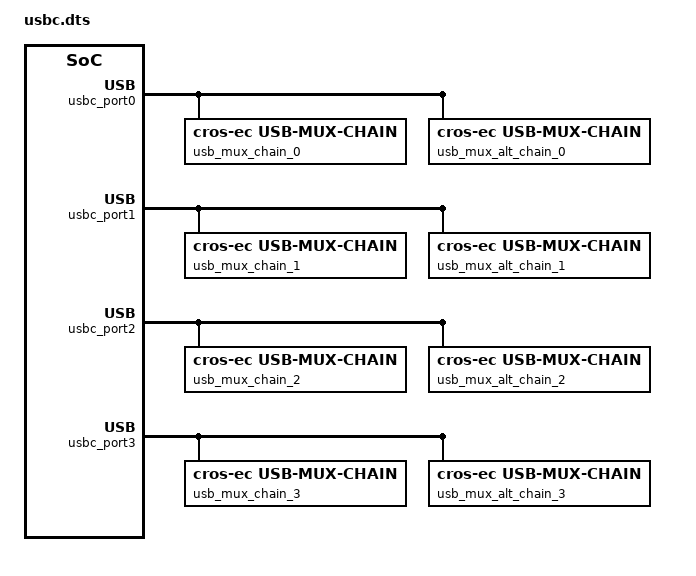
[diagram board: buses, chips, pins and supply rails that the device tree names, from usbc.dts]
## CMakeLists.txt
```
# Copyright 2022 The ChromiumOS Authors. All rights reserved.
# Use of this source code is governed by a BSD-style license that can be
# found in the LICENSE file.

zephyr_library_sources("src/mtlrvp.c")
zephyr_library_sources("src/board_power.c")
```

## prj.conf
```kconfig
# Copyright 2022 The ChromiumOS Authors
# Use of this source code is governed by a BSD-style license that can be
# found in the LICENSE file.

# Power Sequencing
CONFIG_AP_X86_INTEL_MTL=y
CONFIG_X86_NON_DSX_PWRSEQ_MTL=y
CONFIG_PLATFORM_EC_POWERSEQ_SLP_S3_L_OVERRIDE=n
CONFIG_PLATFORM_EC_POWERSEQ_PP5000_CONTROL=n

# Battery
CONFIG_PLATFORM_EC_BATTERY_TYPE_NO_AUTO_DETECT=y
CONFIG_PLATFORM_EC_BATTERY_V2=y

# CBI
CONFIG_EEPROM=y
CONFIG_EEPROM_AT24=y
CONFIG_EEPROM_SHELL=n
CONFIG_PLATFORM_EC_CBI_EEPROM=y
CONFIG_PLATFORM_EC_BYPASS_CBI_EEPROM_WP_CHECK=y
CONFIG_PLATFORM_EC_SYSTEM_UNLOCKED=y

# Disable BC1.2
CONFIG_PLATFORM_EC_USB_CHARGER=n

# Charger
CONFIG_PLATFORM_EC_CHARGER=y
CONFIG_PLATFORM_EC_CHARGER_DISCHARGE_ON_AC=y
CONFIG_PLATFORM_EC_CHARGER_SENSE_RESISTOR=5
CONFIG_PLATFORM_EC_CHARGER_SENSE_RESISTOR_AC=10
CONFIG_PLATFORM_EC_CHARGE_RAMP_HW=n
CONFIG_PLATFORM_EC_CHARGER_ISL9241=y
CONFIG_PLATFORM_EC_DEDICATED_CHARGE_PORT=y

# IOEX
CONFIG_PLATFORM_EC_IOEX_CROS_DRV=y
CONFIG_PLATFORM_EC_IOEX_CCGXXF=y
CONFIG_GPIO_PCA95XX=y
CONFIG_GPIO_NCT38XX=y
CONFIG_PLATFORM_EC_IOEX_IT8801=y

#Keyboard from I/O expander
CONFIG_PLATFORM_EC_KEYBOARD_DISCRETE=y
CONFIG_CROS_KB_RAW_NPCX=n

# Temperature sensors
CONFIG_PLATFORM_EC_TEMP_SENSOR=y
CONFIG_PLATFORM_EC_THERMISTOR=y
CONFIG_PLATFORM_EC_TEMP_SENSOR_POWER=y

# USB CONFIG
CONFIG_PLATFORM_EC_USB_DRP_ACC_TRYSRC=y
CONFIG_PLATFORM_EC_USB_MUX_TASK=y
CONFIG_PLATFORM_EC_USBC_PPC_SN5S330=y
CONFIG_PLATFORM_EC_USBC_PPC=y
CONFIG_PLATFORM_EC_USB_PD_PPC=y
CONFIG_PLATFORM_EC_USB_PD_VBUS_DETECT_PPC=y
CONFIG_PLATFORM_EC_USB_PD_VBUS_DETECT_TCPC=y
CONFIG_PLATFORM_EC_USB_PD_DISCHARGE_PPC=y
CONFIG_PLATFORM_EC_USB_PD_DISCHARGE_TCPC=y
CONFIG_PLATFORM_EC_USB_PD_TCPC_LOW_POWER=y
CONFIG_PLATFORM_EC_USB_PD_TCPM_TCPCI=y
CONFIG_PLATFORM_EC_USB_PD_TCPM_MUX=y
CONFIG_PLATFORM_EC_USB_PD_TRY_SRC=y
CONFIG_PLATFORM_EC_USB_PD_TCPM_SBU=y
CONFIG_PLATFORM_EC_USB_PD_DUAL_ROLE_AUTO_TOGGLE=y
CONFIG_PLATFORM_EC_USBC_VCONN=y
CONFIG_PLATFORM_EC_USB_PD_TBT_COMPAT_MODE=y
CONFIG_PLATFORM_EC_USB_PD_USB32_DRD=y
CONFIG_PLATFORM_EC_USB_PD_USB4=y
CONFIG_PLATFORM_EC_USB_PD_INT_SHARED=y
CONFIG_PLATFORM_EC_USB_PD_PORT_0_SHARED=y
CONFIG_PLATFORM_EC_USB_PD_PORT_1_SHARED=y

# 7-Segment Display
CONFIG_PLATFORM_EC_MAX695X_SEVEN_SEGMENT_DISPLAY=y
```

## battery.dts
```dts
/* Copyright 2022 The Chromium OS Authors. All rights reserved.
 * Use of this source code is governed by a BSD-style license that can be
 * found in the LICENSE file.
 */

/ {
	aliases {
		getac-3s = &default_battery;
		getac-2s = &getac_smp_hhp_408_2s;
	};
	batteries {
		default_battery: getac-smp-hhp-408-3s {
			compatible = "getac,bq40z50-R3-S3", "battery-smart";
		};
		getac_smp_hhp_408_2s: getac-smp-hhp-408-2s {
			compatible = "getac,bq40z50-R3-S2", "battery-smart";
		};
	};
};
```

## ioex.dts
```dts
/* Copyright 2022 The ChromiumOS Authors. All rights reserved.
 * Use of this source code is governed by a BSD-style license that can be
 * found in the LICENSE file.
 */

/ {
	/* IOEX_KBD_GPIO IT8801 */
	ioex-kbd-gpio {
		compatible = "cros,ioex-chip";
		i2c-port = <&battery>;
		i2c-addr = <0x39>;
		drv = "it8801_ioexpander_drv";
		flags = <0x00>;
		#address-cells = <1>;
		#size-cells = <0>;

		ioex_it8801_port0: it8801_port@0 {
			compatible = "cros,ioex-port";
			reg = <0>;
			gpio-controller;
			#gpio-cells = <2>;
			ngpios = <8>;
		};

		ioex_it8801_port1: it8801_port@1 {
			compatible = "cros,ioex-port";
			reg = <1>;
			gpio-controller;
			#gpio-cells = <2>;
			ngpios = <8>;
		};
	};
	/* IOEX_C2_CCGXXF */
	ioex-c2 {
		compatible = "cros,ioex-chip";
		i2c-port = <&typec_aic2>;
		i2c-addr = <0x0B>;
		drv = "ccgxxf_ioexpander_drv";
		flags = <0x00>;
		#address-cells = <1>;
		#size-cells = <0>;
		ioex_c2_port0: ioex-c2-port@0 {
			compatible = "cros,ioex-port";
			reg = <0>;
			gpio-controller;
			#gpio-cells = <2>;
			ngpios = <8>;
		};
		ioex_c2_port1: ioex-c2-port@1 {
			compatible = "cros,ioex-port";
			reg = <1>;
			gpio-controller;
			#gpio-cells = <2>;
			ngpios = <8>;
		};
		ioex_c2_port2: ioex-c2-port@2 {
			compatible = "cros,ioex-port";
			reg = <2>;
			gpio-controller;
			#gpio-cells = <2>;
			ngpios = <8>;
		};
		ioex_c2_port3: ioex-c2-port@3 {
			compatible = "cros,ioex-port";
			reg = <3>;
			gpio-controller;
			#gpio-cells = <2>;
			ngpios = <8>;
		};
	};
};
```

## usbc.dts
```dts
/* Copyright 2022 The ChromiumOS Authors
 * Use of this source code is governed by a BSD-style license that can be
 * found in the LICENSE file.
 */

/ {
	usbc {
		#address-cells = <1>;
		#size-cells = <0>;

		usbc_port0: port0@0 {
			compatible = "named-usbc-port";
			reg = <0>;
			tcpc = <&tcpc_port0>;
			chg = <&charger>;
			usb_mux_chain_0: usb-mux-chain-0 {
				compatible = "cros-ec,usb-mux-chain";
				usb-muxes = <&usb_c0_hb_retimer
					     &virtual_mux_c0>;
			};
			usb_mux_alt_chain_0: usb-mux-atl-chain-0 {
				compatible = "cros-ec,usb-mux-chain";
				alternative-chain;
				usb-muxes = <&virtual_mux_c0>;
			};
		};
		port0-muxes {
			virtual_mux_c0: virtual-mux-c0 {
				compatible = "cros-ec,usbc-mux-virtual";
			};
		};

		usbc_port1: port1@1 {
			compatible = "named-usbc-port";
			reg = <1>;
			tcpc = <&tcpc_port1>;
			usb_mux_chain_1: usb-mux-chain-1 {
				compatible = "cros-ec,usb-mux-chain";
				usb-muxes = <&usb_c1_hb_retimer
					     &virtual_mux_c1>;
			};
			usb_mux_alt_chain_1: usb-mux-alt-chain-1 {
				compatible = "cros-ec,usb-mux-chain";
				alternative-chain;
				usb-muxes = <&virtual_mux_c1>;
			};
		};
		port1-muxes {
			virtual_mux_c1: virtual-mux-c1 {
				compatible = "cros-ec,usbc-mux-virtual";
			};
		};

		usbc_port2: port2@2 {
			compatible = "named-usbc-port";
			reg = <2>;
			tcpc = <&tcpc_port2>;
			usb_mux_chain_2: usb-mux-chain-2 {
				compatible = "cros-ec,usb-mux-chain";
				usb-muxes = <&usb_c2_hb_retimer
					     &virtual_mux_c2>;
			};
			usb_mux_alt_chain_2: usb-mux-alt-chain-2 {
				compatible = "cros-ec,usb-mux-chain";
				alternative-chain;
				usb-muxes = <&usb_c2_alt_hb_retimer
					     &virtual_mux_c2>;
			};
		};
		port2-muxes {
			virtual_mux_c2: virtual-mux-c2 {
				compatible = "cros-ec,usbc-mux-virtual";
			};
		};

		usbc_port3: port3@3 {
			compatible = "named-usbc-port";
			reg = <3>;
			tcpc = <&tcpc_port3>;
			usb_mux_chain_3: usb-mux-chain-3 {
				compatible = "cros-ec,usb-mux-chain";
				usb-muxes = <&usb_c3_hb_retimer
					     &virtual_mux_c3>;
			};
			usb_mux_alt_chain_3: usb-mux-alt-chain-3 {
				compatible = "cros-ec,usb-mux-chain";
				alternative-chain;
				usb-muxes = <&usb_c3_alt_hb_retimer
					     &virtual_mux_c3>;
			};
		};
		port3-muxes {
			virtual_mux_c3: virtual-mux-c3 {
				compatible = "cros-ec,usbc-mux-virtual";
			};
		};
	};
};
```

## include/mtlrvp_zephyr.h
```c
/* Copyright 2022 The Chromium OS Authors. All rights reserved.
 * Use of this source code is governed by a BSD-style license that can be
 * found in the LICENSE file.
 */

/* Intel MTL-RVP specific configuration */

#ifndef __MTLRVP_BOARD_H
#define __MTLRVP_BOARD_H

#define GPIO_SYS_PWROK_EC	GPIO_PCH_SYS_PWROK
#define GPIO_ENTERING_RW	GPIO_UNIMPLEMENTED

#endif /* __MTLRVP_BOARD_H */
```

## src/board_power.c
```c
/* Copyright 2022 The ChromiumOS Authors
 * Use of this source code is governed by a BSD-style license that can be
 * found in the LICENSE file.
 */

#include "gpio/gpio.h"
#include "gpio_signal.h"
#include "system_boot_time.h"

#include <zephyr/drivers/gpio.h>
#include <zephyr/logging/log.h>
#include <zephyr/sys/atomic.h>
#include <zephyr/logging/log.h>
#include <zephyr/drivers/gpio.h>

#include <ap_power/ap_power.h>
#include <ap_power/ap_power_events.h>
#include <ap_power/ap_power_interface.h>
#include <ap_power_override_functions.h>
#include <power_signals.h>
#include <x86_power_signals.h>

#include "gpio_signal.h"
#include "gpio/gpio.h"

LOG_MODULE_DECLARE(ap_pwrseq, LOG_LEVEL_INF);

#if CONFIG_X86_NON_DSX_PWRSEQ_MTL
#define X86_NON_DSX_MTL_FORCE_SHUTDOWN_TO_MS 50

void board_ap_power_force_shutdown(void)
{
	int timeout_ms = X86_NON_DSX_MTL_FORCE_SHUTDOWN_TO_MS;

	/* Turn off PCH_RMSRST to meet tPCH12 */
	power_signal_set(PWR_EC_PCH_RSMRST, 0);

	/* Turn off PRIM load switch. */
	power_signal_set(PWR_EN_PP3300_A, 0);

	/* Wait RSMRST to be off. */
	while (power_signal_get(PWR_RSMRST) && (timeout_ms > 0)) {
		k_msleep(1);
		timeout_ms--;
	};

	if (power_signal_get(PWR_RSMRST))
		LOG_WRN("RSMRST_ODL didn't go low!  Assuming G3.");
}

void board_ap_power_action_g3_s5(void)
{
	/* Turn on the PP3300_PRIM rail. */
	power_signal_set(PWR_EN_PP3300_A, 1);

	update_ap_boot_time(ARAIL);
	if (!power_wait_signals_timeout(
		    IN_PGOOD_ALL_CORE,
		    AP_PWRSEQ_DT_VALUE(wait_signal_timeout))) {
		ap_power_ev_send_callbacks(AP_POWER_PRE_INIT);
	}
}

bool board_ap_power_check_power_rails_enabled(void)
{
	return power_signal_get(PWR_EN_PP3300_A);
}
#endif /* CONFIG_X86_NON_DSX_PWRSEQ_MTL */
```

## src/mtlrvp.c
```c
/* Copyright 2022 The ChromiumOS Authors
 * Use of this source code is governed by a BSD-style license that can be
 * found in the LICENSE file.
 */

#include "battery.h"
#include "battery_fuel_gauge.h"
#include "charger.h"
#include "common.h"
#include "console.h"
#include "driver/retimer/bb_retimer_public.h"
#include "driver/tcpm/ccgxxf.h"
#include "driver/tcpm/nct38xx.h"
#include "driver/tcpm/tcpci.h"
#include "extpower.h"
#include "gpio.h"
#include "gpio/gpio_int.h"
#include "hooks.h"
#include "i2c.h"
#include "intelrvp.h"
#include "intel_rvp_board_id.h"
#include "ioexpander.h"
#include "isl9241.h"
#include "keyboard_raw.h"
#include "power/meteorlake.h"
#include "sn5s330.h"
#include "system.h"
#include "task.h"
#include "tusb1064.h"
#include "usb_mux.h"
#include "usbc_ppc.h"
#include "usbc/usb_muxes.h"
#include "util.h"

#define CPRINTF(format, args...) cprintf(CC_COMMAND, format, ##args)
#define CPRINTS(format, args...) cprints(CC_COMMAND, format, ##args)

/*******************************************************************/
/* USB-C Configuration Start */

/* PPC */
#define I2C_ADDR_SN5S330_P0 0x40
#define I2C_ADDR_SN5S330_P1 0x41

#define MTLP_DDR5_RVP_SKU_BOARD_ID 0x01
#define MTLP_LP5_RVP_SKU_BOARD_ID 0x02
#define MTL_RVP_BOARD_ID(id) ((id) & 0x3F)

/* IOEX ports */
enum ioex_port {
	IOEX_KBD = 0,
#if defined(HAS_TASK_PD_C2)
	IOEX_C2_CCGXXF,
#endif
	IOEX_COUNT
};

/* USB-C ports */
enum usbc_port {
	USBC_PORT_C0 = 0,
	USBC_PORT_C1,
#if defined(HAS_TASK_PD_C2)
	USBC_PORT_C2,
	USBC_PORT_C3,
#endif
	USBC_PORT_COUNT
};
BUILD_ASSERT(USBC_PORT_COUNT == CONFIG_USB_PD_PORT_MAX_COUNT);


/* USB-C PPC configuration */
struct ppc_config_t ppc_chips[] = {
	[USBC_PORT_C0] = {
		.i2c_port = I2C_PORT_TYPEC_AIC_1,
		.i2c_addr_flags = I2C_ADDR_SN5S330_P0,
		.drv = &sn5s330_drv,
	},
	[USBC_PORT_C1] = {
		.i2c_port = I2C_PORT_TYPEC_AIC_1,
		.i2c_addr_flags = I2C_ADDR_SN5S330_P1,
		.drv = &sn5s330_drv,
	},
};
unsigned int ppc_cnt = ARRAY_SIZE(ppc_chips);

/* TCPC AIC GPIO Configuration */
const struct tcpc_aic_gpio_config_t tcpc_aic_gpios[] = {
	[USBC_PORT_C0] = {
		.tcpc_alert = GPIO_SIGNAL(DT_NODELABEL(usbc_tcpc_alrt_p0)),
		.ppc_alert = GPIO_SIGNAL(DT_NODELABEL(usbc_tcpc_ppc_alrt_p0)),
		.ppc_intr_handler = sn5s330_interrupt,
	},
	[USBC_PORT_C1] = {
		.tcpc_alert = GPIO_SIGNAL(DT_NODELABEL(usbc_tcpc_alrt_p0)),
		.ppc_alert = GPIO_SIGNAL(DT_NODELABEL(usbc_tcpc_ppc_alrt_p1)),
		.ppc_intr_handler = sn5s330_interrupt,
	},
#if defined(HAS_TASK_PD_C2)
	[USBC_PORT_C2] = {
		.tcpc_alert = GPIO_SIGNAL(DT_NODELABEL(usbc_tcpc_alrt_p2)),
		/* No PPC alert for CCGXXF */
	},
	[USBC_PORT_C3] = {
		.tcpc_alert = GPIO_SIGNAL(DT_NODELABEL(usbc_tcpc_alrt_p3)),
		/* No PPC alert for CCGXXF */
	},
#endif
};
BUILD_ASSERT(ARRAY_SIZE(tcpc_aic_gpios) == CONFIG_USB_PD_PORT_MAX_COUNT);

static void board_connect_c0_sbu_deferred(void)
{
	enum pd_power_role prole;

	if (gpio_get_level(GPIO_CCD_MODE_ODL)) {
		CPRINTS("Default AUX line connected");
		/* Default set the SBU lines to AUX mode */
		ioex_set_level(IOEX_USB_C0_MUX_SBU_SEL_1, 0);
		ioex_set_level(IOEX_USB_C0_MUX_SBU_SEL_0, 1);
	} else {
		prole = pd_get_power_role(USBC_PORT_C0);
		CPRINTS("%s debug device is attached",
			prole == PD_ROLE_SINK ? "Servo V4C/SuzyQ" : "Intel");

		if (prole == PD_ROLE_SINK) {
			/* Set the SBU lines to Google CCD mode */
			ioex_set_level(IOEX_USB_C0_MUX_SBU_SEL_1, 1);
			ioex_set_level(IOEX_USB_C0_MUX_SBU_SEL_0, 1);
		} else {
			/* Set the SBU lines to Intel CCD mode */
			ioex_set_level(IOEX_USB_C0_MUX_SBU_SEL_1, 0);
			ioex_set_level(IOEX_USB_C0_MUX_SBU_SEL_0, 0);
		}
	}
}
DECLARE_DEFERRED(board_connect_c0_sbu_deferred);

void board_overcurrent_event(int port, int is_overcurrented)
{
	/*
	 * TODO: Meteorlake PCH does not use Physical GPIO for over current
	 * error, hence Send 'Over Current Virtual Wire' eSPI signal.
	 */
}

void board_reset_pd_mcu(void)
{
	/* Reset NCT38XX TCPC */
	gpio_pin_set_dt(GPIO_DT_FROM_NODELABEL(usb_c0_c1_tcpc_rst_odl), 0);
	msleep(NCT38XX_RESET_HOLD_DELAY_MS);
	gpio_pin_set_dt(GPIO_DT_FROM_NODELABEL(usb_c0_c1_tcpc_rst_odl), 1);
	nct38xx_reset_notify(0);
	nct38xx_reset_notify(1);

	if (NCT3807_RESET_POST_DELAY_MS != 0) {
		msleep(NCT3807_RESET_POST_DELAY_MS);
	}

	/* NCT38XX chip uses gpio ioex */
	gpio_reset_port(DEVICE_DT_GET(DT_NODELABEL(ioex_c0)));
	gpio_reset_port(DEVICE_DT_GET(DT_NODELABEL(ioex_c1)));

#if defined(HAS_TASK_PD_C2)
	/* Reset the ccgxxf ports only resetting 1 is required */
	ccgxxf_reset(USBC_PORT_C2);

	/* CCGXXF has ioex on port 2 */
	ioex_init(IOEX_C2_CCGXXF);
#endif
}

void board_connect_c0_sbu(enum gpio_signal signal)
{
	hook_call_deferred(&board_connect_c0_sbu_deferred_data, 0);
}

/******************************************************************************/
/* KSO mapping for discrete keyboard */
__override const uint8_t it8801_kso_mapping[] = {
	0, 1, 20, 3, 4, 5, 6, 11, 12, 13, 14, 15, 16,
};
BUILD_ASSERT(ARRAY_SIZE(it8801_kso_mapping) == KEYBOARD_COLS_MAX);

/* PWROK signal configuration */
/*
 * On MTLRVP, SYS_PWROK_EC is an output controlled by EC and uses ALL_SYS_PWRGD
 * as input.
 */
const struct intel_x86_pwrok_signal pwrok_signal_assert_list[] = {
	{
		.gpio = GPIO_PCH_SYS_PWROK,
		.delay_ms = 3,
	},
};
const int pwrok_signal_assert_count = ARRAY_SIZE(pwrok_signal_assert_list);

const struct intel_x86_pwrok_signal pwrok_signal_deassert_list[] = {
	{
		.gpio = GPIO_PCH_SYS_PWROK,
	},
};
const int pwrok_signal_deassert_count = ARRAY_SIZE(pwrok_signal_deassert_list);

/*
 * Returns board information (board id[7:0] and Fab id[15:8]) on success
 * -1 on error.
 */
__override int board_get_version(void)
{
	/* Cache the MTLRVP board ID */
	static int mtlrvp_board_id;

	int i;
	int rv = EC_ERROR_UNKNOWN;
	int fab_id, board_id, bom_id;

	/* Board ID is already read */
	if (mtlrvp_board_id)
		return mtlrvp_board_id;

	/*
	 * IOExpander that has Board ID information is on DSW-VAL rail on
	 * MTL RVP. On cold boot cycles, DSW-VAL rail is taking time to settle.
	 * This loop retries to ensure rail is settled and read is successful
	 */
	for (i = 0; i < RVP_VERSION_READ_RETRY_CNT; i++) {
		rv = gpio_pin_get_dt(&bom_id_config[0]);

		if (rv >= 0)
			break;

		k_msleep(1);
	}

	/* return -1 if failed to read board id */
	if (rv)
		return -1;

	/*
	 * BOM ID [2]   : IOEX[0]
	 * BOM ID [1:0] : IOEX[15:14]
	 */
	bom_id = gpio_pin_get_dt(&bom_id_config[0]) << 2;
	bom_id |= gpio_pin_get_dt(&bom_id_config[1]) << 1;
	bom_id |= gpio_pin_get_dt(&bom_id_config[2]);
	/*
	 * FAB ID [1:0] : IOEX[2:1] + 1
	 */
	fab_id = gpio_pin_get_dt(&fab_id_config[0]) << 1;
	fab_id |= gpio_pin_get_dt(&fab_id_config[1]);
	fab_id += 1;

	/*
	 * BOARD ID[5:0] : IOEX[13:8]
	 */
	board_id = gpio_pin_get_dt(&board_id_config[0]) << 5;
	board_id |= gpio_pin_get_dt(&board_id_config[1]) << 4;
	board_id |= gpio_pin_get_dt(&board_id_config[2]) << 3;
	board_id |= gpio_pin_get_dt(&board_id_config[3]) << 2;
	board_id |= gpio_pin_get_dt(&board_id_config[4]) << 1;
	board_id |= gpio_pin_get_dt(&board_id_config[5]);

	CPRINTF("BID:0x%x, FID:0x%x, BOM:0x%x", board_id, fab_id, bom_id);

	mtlrvp_board_id = board_id | (fab_id << 8);
	return mtlrvp_board_id;
}

static void board_int_init(void)
{
	/* Enable PPC interrupts. */
	gpio_enable_dt_interrupt(GPIO_INT_FROM_NODELABEL(int_usb_c0_ppc));
	gpio_enable_dt_interrupt(GPIO_INT_FROM_NODELABEL(int_usb_c1_ppc));

	/* Enable TCPC interrupts. */
	gpio_enable_dt_interrupt(GPIO_INT_FROM_NODELABEL(int_usb_c0_c1_tcpc));
#if defined(HAS_TASK_PD_C2)
	gpio_enable_dt_interrupt(GPIO_INT_FROM_NODELABEL(int_usb_c2_tcpc));
	gpio_enable_dt_interrupt(GPIO_INT_FROM_NODELABEL(int_usb_c3_tcpc));
#endif

	/* Enable CCD Mode interrupt */
	gpio_enable_dt_interrupt(GPIO_INT_FROM_NODELABEL(int_ccd_mode));
}

static void configure_retimer_usbmux(void)
{
	switch (MTL_RVP_BOARD_ID(board_get_version())) {
	case MTLP_LP5_RVP_SKU_BOARD_ID:
		/* No retimer on Port 0 */
		USB_MUX_ENABLE_ALTERNATIVE(usb_mux_alt_chain_0);
		USB_MUX_ENABLE_ALTERNATIVE(usb_mux_alt_chain_1);
#if defined(HAS_TASK_PD_C2)
		USB_MUX_ENABLE_ALTERNATIVE(usb_mux_alt_chain_2);
		USB_MUX_ENABLE_ALTERNATIVE(usb_mux_alt_chain_3);
#endif
		break;
		/* Add additional board SKUs */
	default:
		break;	}
}

__override bool board_is_tbt_usb4_port(int port)
{
	bool tbt_usb4 = true;
	switch (MTL_RVP_BOARD_ID(board_get_version())) {
	case MTLP_LP5_RVP_SKU_BOARD_ID:
		/* No retimer on port 0; and port 1 is not available */
		if ((port == USBC_PORT_C0) || (port == USBC_PORT_C1))
			tbt_usb4 = false;
		break;
	default:
		break;
	}
	return tbt_usb4;
}

static int board_pre_task_peripheral_init(const struct device *unused)
{
	ARG_UNUSED(unused);

	/* Only reset tcpc/pd if not sysjump */
	if (!system_jumped_late()) {
		/* Initialize tcpc and all ioex */
		board_reset_pd_mcu();
	}

	/* Initialize all interrupts */
	board_int_init();

	/* Make sure SBU are routed to CCD or AUX based on CCD status at init */
	board_connect_c0_sbu_deferred();

	/* Configure board specific retimer & mux */
	configure_retimer_usbmux();

	return 0;
}
SYS_INIT(board_pre_task_peripheral_init, APPLICATION,
	 CONFIG_APPLICATION_INIT_PRIORITY);

/*
 * Since MTLRVP has both PPC and TCPC ports override to check if the port
 * is a PPC or non PPC port
 */
__override bool pd_check_vbus_level(int port, enum vbus_level level)
{
	if (!board_port_has_ppc(port)) {
		return tcpm_check_vbus_level(port, level);
	} else if (level == VBUS_PRESENT) {
		return pd_snk_is_vbus_provided(port);
	} else {
		return !pd_snk_is_vbus_provided(port);
	}
}

__override bool board_port_has_ppc(int port)
{
	bool ppc_port;

	switch (port) {
	case USBC_PORT_C0:
	case USBC_PORT_C1:
		ppc_port = true;
		break;
	default:
		ppc_port = false;
		break;
	}

	return ppc_port;
}
```
